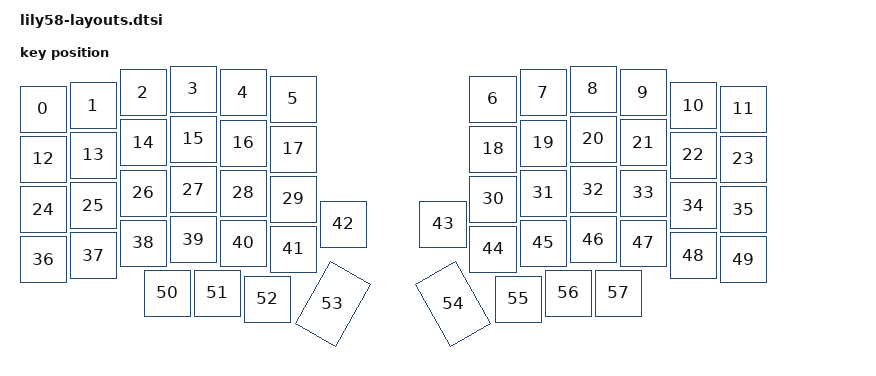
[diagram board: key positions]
#include <physical_layouts.dtsi>

/ {
    layout_0: layout_0 {
        compatible = "zmk,physical-layout";
        display-name = "LAYOUT";
        transform = <&default_transform>;

        keys  //                     w   h    x    y     rot    rx    ry
            = <&key_physical_attrs 100 100    0   40       0     0     0>
            , <&key_physical_attrs 100 100  100   33       0     0     0>
            , <&key_physical_attrs 100 100  200    7       0     0     0>
            , <&key_physical_attrs 100 100  300    0       0     0     0>
            , <&key_physical_attrs 100 100  400    7       0     0     0>
            , <&key_physical_attrs 100 100  500   20       0     0     0>
            , <&key_physical_attrs 100 100  900   20       0     0     0>
            , <&key_physical_attrs 100 100 1000    7       0     0     0>
            , <&key_physical_attrs 100 100 1100    0       0     0     0>
            , <&key_physical_attrs 100 100 1200    7       0     0     0>
            , <&key_physical_attrs 100 100 1300   33       0     0     0>
            , <&key_physical_attrs 100 100 1400   40       0     0     0>
            , <&key_physical_attrs 100 100    0  140       0     0     0>
            , <&key_physical_attrs 100 100  100  132       0     0     0>
            , <&key_physical_attrs 100 100  200  107       0     0     0>
            , <&key_physical_attrs 100 100  300  100       0     0     0>
            , <&key_physical_attrs 100 100  400  108       0     0     0>
            , <&key_physical_attrs 100 100  500  120       0     0     0>
            , <&key_physical_attrs 100 100  900  120       0     0     0>
            , <&key_physical_attrs 100 100 1000  108       0     0     0>
            , <&key_physical_attrs 100 100 1100  100       0     0     0>
            , <&key_physical_attrs 100 100 1200  107       0     0     0>
            , <&key_physical_attrs 100 100 1300  132       0     0     0>
            , <&key_physical_attrs 100 100 1400  140       0     0     0>
            , <&key_physical_attrs 100 100    0  241       0     0     0>
            , <&key_physical_attrs 100 100  100  233       0     0     0>
            , <&key_physical_attrs 100 100  200  208       0     0     0>
            , <&key_physical_attrs 100 100  300  201       0     0     0>
            , <&key_physical_attrs 100 100  400  208       0     0     0>
            , <&key_physical_attrs 100 100  500  220       0     0     0>
            , <&key_physical_attrs 100 100  900  220       0     0     0>
            , <&key_physical_attrs 100 100 1000  208       0     0     0>
            , <&key_physical_attrs 100 100 1100  201       0     0     0>
            , <&key_physical_attrs 100 100 1200  208       0     0     0>
            , <&key_physical_attrs 100 100 1300  233       0     0     0>
            , <&key_physical_attrs 100 100 1400  241       0     0     0>
            , <&key_physical_attrs 100 100    0  341       0     0     0>
            , <&key_physical_attrs 100 100  100  333       0     0     0>
            , <&key_physical_attrs 100 100  200  308       0     0     0>
            , <&key_physical_attrs 100 100  300  301       0     0     0>
            , <&key_physical_attrs 100 100  400  308       0     0     0>
            , <&key_physical_attrs 100 100  500  320       0     0     0>
            , <&key_physical_attrs 100 100  600  270       0     0     0>
            , <&key_physical_attrs 100 100  800  270       0     0     0>
            , <&key_physical_attrs 100 100  900  320       0     0     0>
            , <&key_physical_attrs 100 100 1000  308       0     0     0>
            , <&key_physical_attrs 100 100 1100  301       0     0     0>
            , <&key_physical_attrs 100 100 1200  308       0     0     0>
            , <&key_physical_attrs 100 100 1300  333       0     0     0>
            , <&key_physical_attrs 100 100 1400  341       0     0     0>
            , <&key_physical_attrs 100 100  249  408       0     0     0>
            , <&key_physical_attrs 100 100  349  408       0     0     0>
            , <&key_physical_attrs 100 100  449  420       0     0     0>
            , <&key_physical_attrs 100 150  549  370    3000   549   520>
            , <&key_physical_attrs 100 150  851  370 (-3000)   951   520>
            , <&key_physical_attrs 100 100  951  420       0     0     0>
            , <&key_physical_attrs 100 100 1051  408       0     0     0>
            , <&key_physical_attrs 100 100 1151  408       0     0     0>
            ;
    };
};

